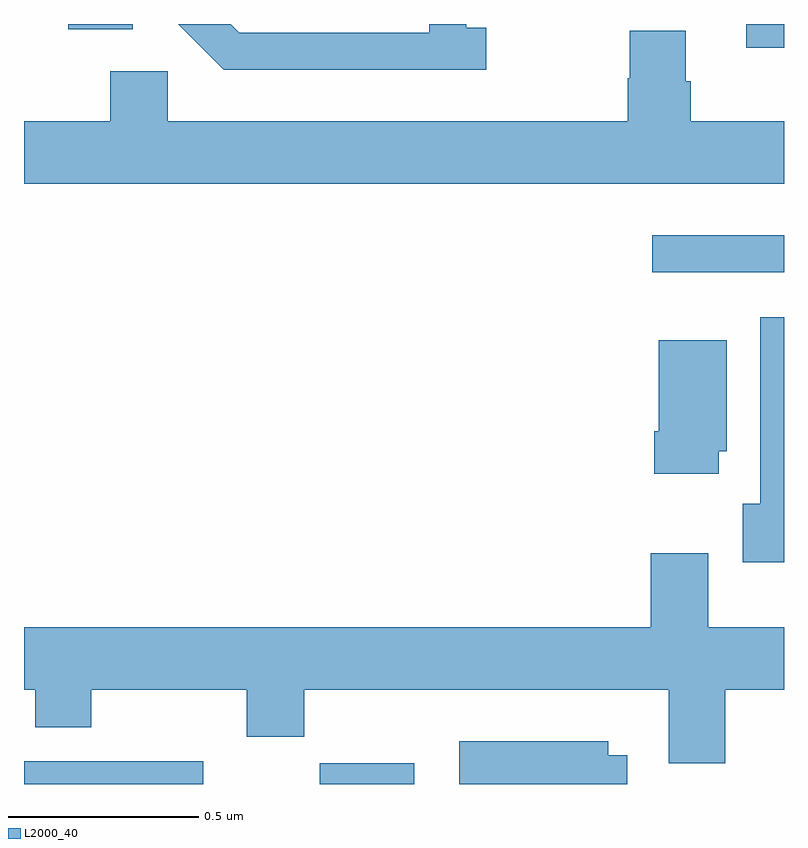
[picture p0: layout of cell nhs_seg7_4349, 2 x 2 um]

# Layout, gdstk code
import gdstk
lib = gdstk.Library(unit=1e-6, precision=1e-09)
def R(c, l, rs):  # rectangles x0, y0, x1, y1
    for r in rs: c.add(gdstk.rectangle(r[:2], r[2:], *l))
def P(c, l, *ps):  # polygons
    for p in ps: c.add(gdstk.Polygon(p, *l))
L2000_40 = (2000, 40)

nhs_seg7_4349 = lib.new_cell('nhs_seg7_4349')
R(nhs_seg7_4349, L2000_40, [(171,1035,171.472,1035.06), (171.778,1035,172.027,1035.054), (172.653,1036.347,173,1036.444), (172.901,1036.938,173,1037), (171.116,1036.986,171.286,1037)])
P(nhs_seg7_4349, L2000_40, [(172.216,1036.99),(172.164,1036.99),(172.164,1037),(172.067,1037),(172.067,1036.977),(171.567,1036.977),(171.544,1037),(171.406,1037),(171.526,1036.88),(172.216,1036.88)],
  [(173,1036.744),(172.754,1036.744),(172.754,1036.85),(172.741,1036.85),(172.741,1036.982),(172.594,1036.982),(172.594,1036.857),(172.589,1036.857),(172.589,1036.744),(171.378,1036.744),(171.378,1036.876),(171.227,1036.876),(171.227,1036.744),(171,1036.744),(171,1036.58),(173,1036.58)],
  [(173,1036.228),(172.937,1036.228),(172.937,1035.738),(172.892,1035.738),(172.892,1035.584),(173,1035.584)],
  [(172.828,1035.876),(172.849,1035.876),(172.849,1036.168),(172.67,1036.168),(172.67,1035.928),(172.658,1035.928),(172.658,1035.816),(172.828,1035.816)],
  [(172.845,1035.248),(173,1035.248),(173,1035.412),(172.801,1035.412),(172.801,1035.607),(172.649,1035.607),(172.649,1035.412),(171,1035.412),(171,1035.248),(171.029,1035.248),(171.029,1035.149),(171.177,1035.149),(171.177,1035.248),(171.586,1035.248),(171.586,1035.124),(171.737,1035.124),(171.737,1035.248),(172.697,1035.248),(172.697,1035.054),(172.845,1035.054)],
  [(172.588,1035.076),(172.537,1035.076),(172.537,1035.112),(172.145,1035.112),(172.145,1035),(172.588,1035)])

lib.write_gds('nhs_seg7_4349.gds')
